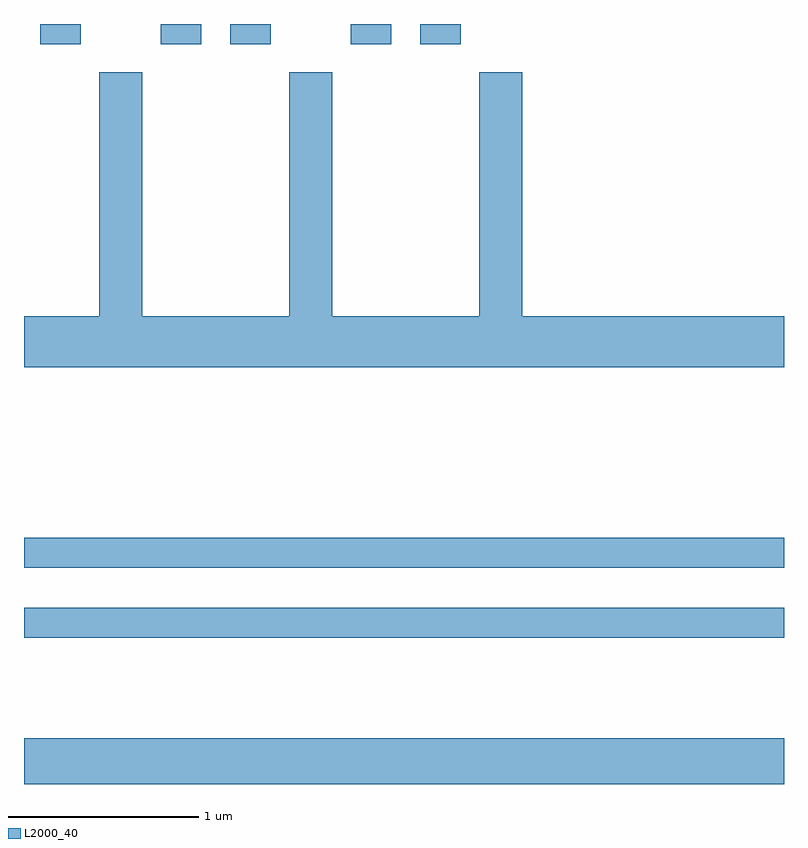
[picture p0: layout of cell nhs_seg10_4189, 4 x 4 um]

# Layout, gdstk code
import gdstk
lib = gdstk.Library(unit=1e-6, precision=1e-09)
def R(c, l, rs):  # rectangles x0, y0, x1, y1
    for r in rs: c.add(gdstk.rectangle(r[:2], r[2:], *l))
def P(c, l, *ps):  # polygons
    for p in ps: c.add(gdstk.Polygon(p, *l))
L2000_40 = (2000, 40)

nhs_seg10_4189 = lib.new_cell('nhs_seg10_4189')
R(nhs_seg10_4189, L2000_40, [(307.611,2200.522,311.611,2200.764), (307.611,2201.291,311.611,2201.449), (307.611,2201.661,311.611,2201.819), (307.696,2204.416,307.909,2204.522), (308.331,2204.416,308.544,2204.522), (308.696,2204.416,308.909,2204.522), (309.331,2204.416,309.544,2204.522), (309.696,2204.416,309.909,2204.522)])
P(nhs_seg10_4189, L2000_40, [(310.006,2204.269),(310.006,2202.984),(309.234,2202.984),(309.234,2204.269),(309.006,2204.269),(309.006,2202.984),(308.234,2202.984),(308.234,2204.269),(308.006,2204.269),(308.006,2202.984),(307.611,2202.984),(307.611,2202.716),(311.611,2202.716),(311.611,2202.984),(310.234,2202.984),(310.234,2204.269)])

lib.write_gds('nhs_seg10_4189.gds')
